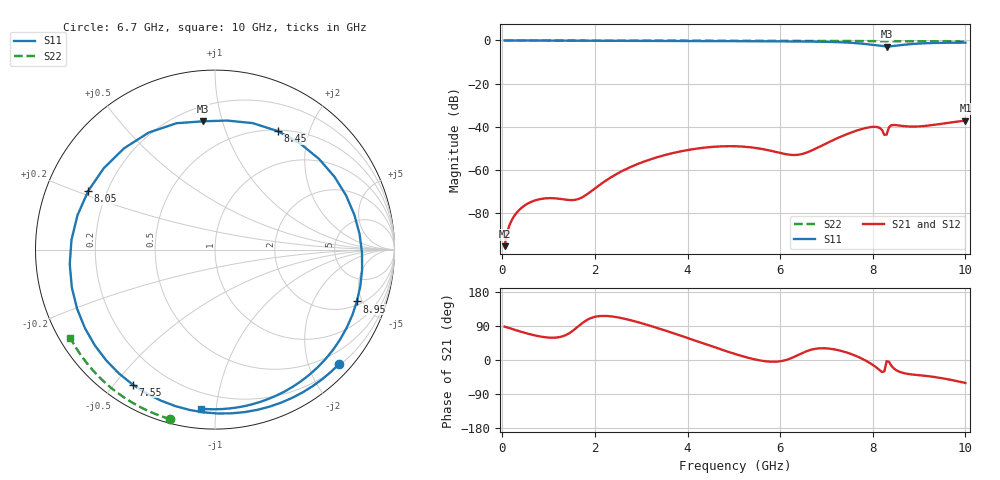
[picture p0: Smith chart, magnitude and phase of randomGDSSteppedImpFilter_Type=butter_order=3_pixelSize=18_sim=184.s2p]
! freq	dB(S11)	phase(S11)	dB(S12)	phase(S12)
!  dB(S21)	phase(S21)	dB(S22)	phase(S22)
!S-par simulation data
#  GHz  S  DB  R 50
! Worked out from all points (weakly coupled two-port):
!   200 points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, 50 MHz to 10 GHz, reference 50 ohm
!   highest |S21| = -37.16 dB at 10 GHz (marker M1); lowest = -95.5 dB at 50 MHz (marker M2)
!   lowest |S11| = -2.9 dB at 8.3 GHz (marker M3), VSWR 6.09, Z = 14.7 + j43.3 ohm
!   |S11| at or under -10 dB: nowhere
!   |S22| runs from -0.5 to 0.0 dB; largest |S21 - S12| = 0
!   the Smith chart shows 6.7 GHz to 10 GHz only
!   S11 on the Smith chart (normalised r, x): 6.7 GHz: 0.23, -2.55; 7.55 GHz: 0.08, -0.56; 8.05 GHz: 0.13, +0.22; 8.45 GHz: 0.51, +1.54; 8.95 GHz: 2.29, -4.54; 10 GHz: 0.11, -0.91
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0.05  -0.00 -3.1  -95.49 88.1  -95.49 88.1  -0.00 -0.9
0.95  -0.07 -57.6  -73.26 59.7  -73.26 59.7  -0.02 -16.3
1.75  -0.12 -102.8  -72.51 99.4  -72.51 99.4  -0.04 -29.7
2.65  -0.17 -150.1  -59.95 108.6  -59.95 108.6  -0.06 -44.5
3.4  -0.21 170.8  -53.85 82.4  -53.85 82.4  -0.08 -56.5
4.35  -0.28 117.7  -49.79 43.4  -49.79 43.4  -0.10 -71.1
5.05  -0.33 74.1  -49.12 15.0  -49.12 15.0  -0.13 -81.4
5.45  -0.36 47.4  -49.83 1.7  -49.83 1.7  -0.14 -87.2
5.95  -0.40 12.5  -51.97 -4.1  -51.97 -4.1  -0.16 -94.3
6.3  -0.45 -12.6  -53.17 8.1  -53.17 8.1  -0.18 -99.2
6.7  -0.53 -42.5  -50.89 28.1  -50.89 28.1  -0.20 -104.7
7.15  -0.72 -79.8  -46.18 28.5  -46.18 28.5  -0.23 -110.9
7.55  -1.10 -121.4  -42.60 15.0  -42.60 15.0  -0.26 -116.2
7.85  -1.67 -165.3  -40.62 -1.8  -40.62 -1.8  -0.28 -120.2
8.05  -2.18 155.2  -40.10 -17.2  -40.10 -17.2  -0.30 -122.9
8.3  -2.88 95.4  -43.70 -3.0  -43.70 -3.0  -0.32 -126.1
8.35  -2.83 84.8  -40.28 -4.8  -40.28 -4.8  -0.32 -126.8
8.45  -2.53 62.1  -39.22 -21.6  -39.22 -21.6  -0.33 -128.2
8.7  -1.93 14.0  -39.83 -35.5  -39.83 -35.5  -0.36 -131.4
8.95  -1.50 -20.1  -39.96 -39.5  -39.96 -39.5  -0.38 -134.7
9.4  -1.13 -60.3  -38.94 -46.1  -38.94 -46.1  -0.43 -140.7
10  -1.01 -95.0  -37.16 -60.6  -37.16 -60.6  -0.50 -148.6
